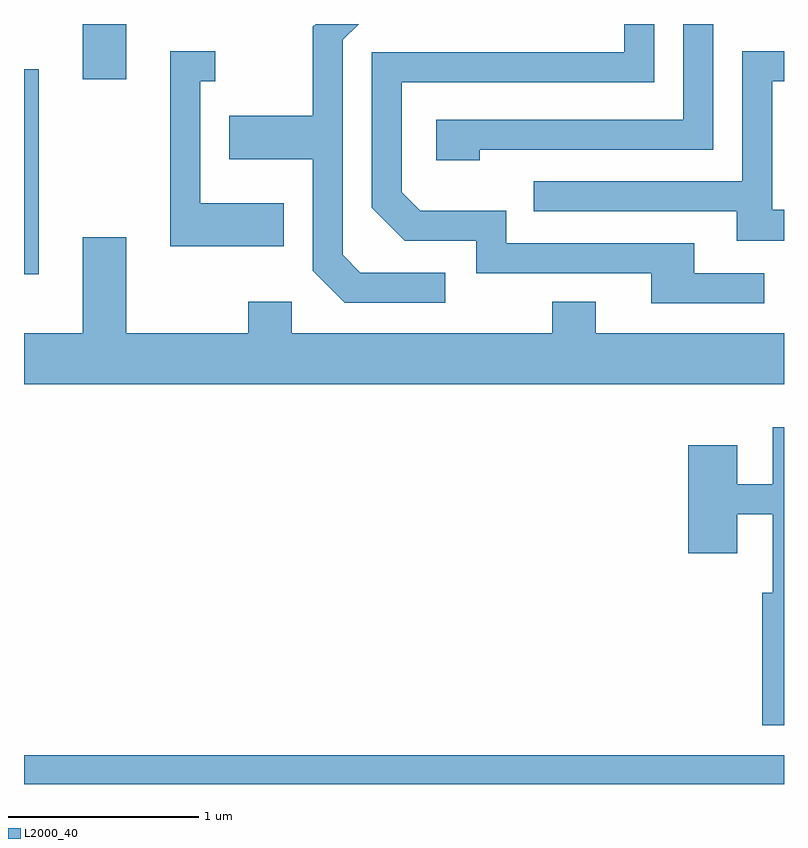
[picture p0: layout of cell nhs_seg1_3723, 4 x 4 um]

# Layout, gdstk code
import gdstk
lib = gdstk.Library(unit=1e-6, precision=1e-09)
def R(c, l, rs):  # rectangles x0, y0, x1, y1
    for r in rs: c.add(gdstk.rectangle(r[:2], r[2:], *l))
def P(c, l, *ps):  # polygons
    for p in ps: c.add(gdstk.Polygon(p, *l))
L2000_40 = (2000, 40)

nhs_seg1_3723 = lib.new_cell('nhs_seg1_3723')
R(nhs_seg1_3723, L2000_40, [(297.611,879.712,301.611,879.864), (297.611,882.396,297.689,883.474), (297.921,883.421,298.149,883.712)])
P(nhs_seg1_3723, L2000_40, [(299.828,882.404),(299.382,882.404),(299.289,882.497),(299.289,883.629),(299.373,883.712),(299.146,883.712),(299.131,883.697),(299.131,883.229),(298.691,883.229),(298.691,883.001),(299.131,883.001),(299.131,882.414),(299.299,882.246),(299.828,882.246)],
  [(300.009,883.051),(301.239,883.051),(301.239,883.712),(301.081,883.712),(301.081,883.209),(299.781,883.209),(299.781,882.996),(300.009,882.996)],
  [(301.508,882.399),(301.139,882.399),(301.139,882.559),(300.149,882.559),(300.149,882.729),(299.697,882.729),(299.599,882.827),(299.599,883.406),(300.929,883.406),(300.929,883.712),(300.771,883.712),(300.771,883.564),(299.441,883.564),(299.441,882.744),(299.614,882.571),(299.991,882.571),(299.991,882.401),(300.911,882.401),(300.911,882.241),(301.508,882.241)],
  [(298.979,882.769),(298.539,882.769),(298.539,883.411),(298.618,883.411),(298.618,883.569),(298.381,883.569),(298.381,882.541),(298.979,882.541)],
  [(301.611,882.734),(301.549,882.734),(301.549,883.411),(301.611,883.411),(301.611,883.569),(301.391,883.569),(301.391,882.884),(300.293,882.884),(300.293,882.726),(301.361,882.726),(301.361,882.571),(301.611,882.571)],
  [(301.611,882.084),(300.619,882.084),(300.619,882.249),(300.391,882.249),(300.391,882.084),(299.019,882.084),(299.019,882.249),(298.791,882.249),(298.791,882.084),(298.149,882.084),(298.149,882.589),(297.921,882.589),(297.921,882.084),(297.611,882.084),(297.611,881.816),(301.611,881.816)],
  [(301.611,881.589),(301.551,881.589),(301.551,881.289),(301.364,881.289),(301.364,881.494),(301.106,881.494),(301.106,880.926),(301.364,880.926),(301.364,881.131),(301.551,881.131),(301.551,880.719),(301.496,880.719),(301.496,880.021),(301.611,880.021)])

lib.write_gds('nhs_seg1_3723.gds')
